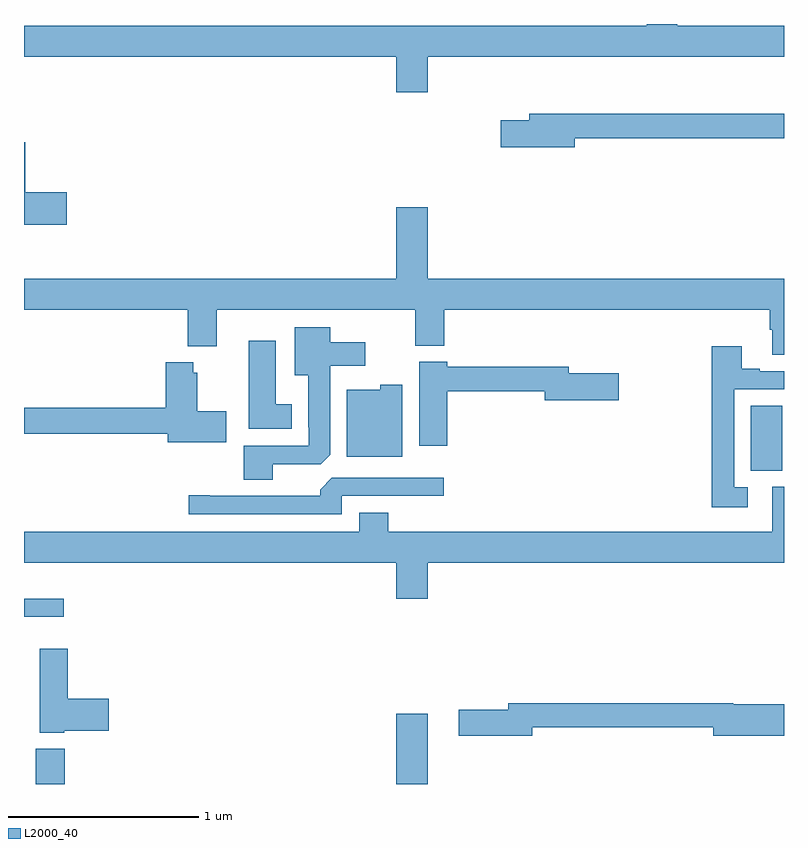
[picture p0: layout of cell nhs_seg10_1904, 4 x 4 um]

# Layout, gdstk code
import gdstk
lib = gdstk.Library(unit=1e-6, precision=1e-09)
def R(c, l, rs):  # rectangles x0, y0, x1, y1
    for r in rs: c.add(gdstk.rectangle(r[:2], r[2:], *l))
def P(c, l, *ps):  # polygons
    for p in ps: c.add(gdstk.Polygon(p, *l))
L2000_40 = (2000, 40)

nhs_seg10_1904 = lib.new_cell('nhs_seg10_1904')
R(nhs_seg10_1904, L2000_40, [(211.061,1284.5,211.214,1284.685), (212.96,1284.5,213.124,1284.871), (211,1285.38,211.21,1285.476), (214.826,1286.149,214.99,1286.492)])
P(nhs_seg10_1904, L2000_40, [(213.124,1288.328),(215,1288.328),(215,1288.492),(214.437,1288.492),(214.437,1288.5),(214.277,1288.5),(214.277,1288.492),(211,1288.492),(211,1288.328),(212.96,1288.328),(212.96,1288.14),(213.124,1288.14)],
  [(213.898,1287.898),(215,1287.898),(215,1288.027),(213.659,1288.027),(213.659,1287.993),(213.51,1287.993),(213.51,1287.851),(213.898,1287.851)],
  [(211.225,1287.614),(211.007,1287.614),(211.007,1287.877),(211,1287.877),(211,1287.443),(211.225,1287.443)],
  [(215,1287.16),(213.124,1287.16),(213.124,1287.535),(212.96,1287.535),(212.96,1287.16),(211,1287.16),(211,1286.996),(211.862,1286.996),(211.862,1286.804),(212.014,1286.804),(212.014,1286.996),(213.059,1286.996),(213.059,1286.807),(213.212,1286.807),(213.212,1286.996),(214.925,1286.996),(214.925,1286.89),(214.937,1286.89),(214.937,1286.758),(215,1286.758)],
  [(212.308,1286.184),(212.562,1286.184),(212.611,1286.233),(212.611,1286.702),(212.797,1286.702),(212.797,1286.824),(212.611,1286.824),(212.611,1286.905),(212.426,1286.905),(212.426,1286.651),(212.495,1286.651),(212.495,1286.377),(212.499,1286.377),(212.499,1286.28),(212.156,1286.28),(212.156,1286.101),(212.308,1286.101)],
  [(212.41,1286.5),(212.326,1286.5),(212.326,1286.833),(212.183,1286.833),(212.183,1286.369),(212.41,1286.369)],
  [(214.81,1286.061),(214.737,1286.061),(214.737,1286.577),(215,1286.577),(215,1286.673),(214.873,1286.673),(214.873,1286.686),(214.777,1286.686),(214.777,1286.803),(214.621,1286.803),(214.621,1285.956),(214.81,1285.956)],
  [(213.227,1286.566),(213.74,1286.566),(213.74,1286.519),(214.129,1286.519),(214.129,1286.661),(213.868,1286.661),(213.868,1286.695),(213.227,1286.695),(213.227,1286.722),(213.08,1286.722),(213.08,1286.28),(213.227,1286.28)],
  [(212.065,1286.463),(211.912,1286.463),(211.912,1286.665),(211.89,1286.665),(211.89,1286.719),(211.745,1286.719),(211.745,1286.48),(211,1286.48),(211,1286.344),(211.757,1286.344),(211.757,1286.3),(212.065,1286.3)],
  [(212.992,1286.602),(212.874,1286.602),(212.874,1286.575),(212.699,1286.575),(212.699,1286.222),(212.992,1286.222)],
  [(212.673,1286.016),(213.208,1286.016),(213.208,1286.112),(212.619,1286.112),(212.558,1286.05),(212.558,1286.016),(211.978,1286.016),(211.978,1286.021),(211.866,1286.021),(211.866,1285.92),(212.673,1285.92)],
  [(213.124,1285.664),(215,1285.664),(215,1286.064),(214.937,1286.064),(214.937,1285.828),(212.918,1285.828),(212.918,1285.927),(212.765,1285.927),(212.765,1285.828),(211,1285.828),(211,1285.664),(212.96,1285.664),(212.96,1285.476),(213.124,1285.476)],
  [(211.212,1284.779),(211.447,1284.779),(211.447,1284.95),(211.229,1284.95),(211.229,1285.213),(211.082,1285.213),(211.082,1284.77),(211.212,1284.77)],
  [(213.676,1284.798),(214.628,1284.798),(214.628,1284.755),(215,1284.755),(215,1284.92),(214.732,1284.92),(214.732,1284.926),(213.548,1284.926),(213.548,1284.89),(213.288,1284.89),(213.288,1284.755),(213.676,1284.755)])

lib.write_gds('nhs_seg10_1904.gds')
